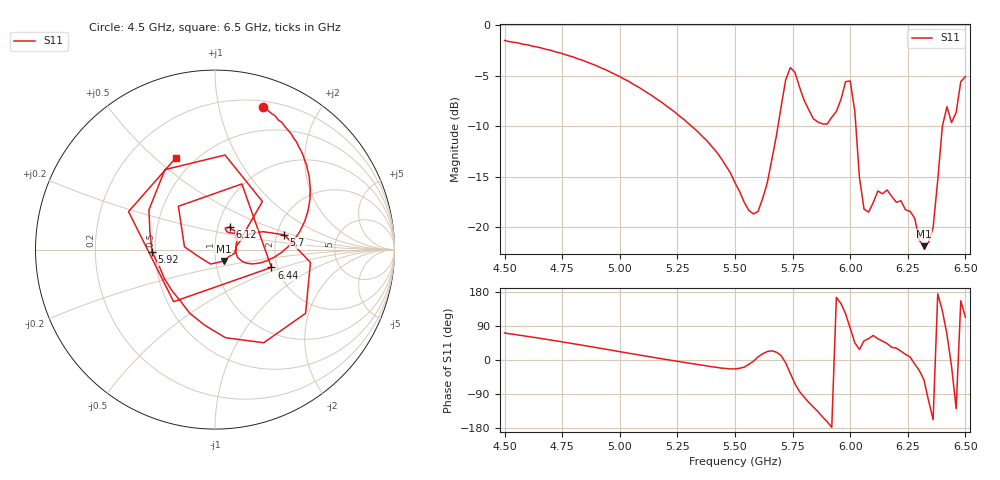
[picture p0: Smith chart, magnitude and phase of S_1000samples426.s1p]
! TOUCHSTONE file generated by CST MICROWAVE STUDIO
! Date and time: Fri Oct 28 03:29:46 2022
! Project name: L.cst
! Parameters = {Di=1.27; Epsilon_r=1.56; InnerDiameter=1.27; Length=2; Lf=10; Lg=60; OuterConductorThickness=0.2921; OuterDiameter=3.6; Wf=3; Wp=41.2; de=1.5; df=6.8; g=0.8; gx=0.683401; gy=2.40649; h=2.34; hf=1.524; px=9.85019; py=14.4254; w=9.7; wx=9.16679; wy=12.0189}
! Header version: 2018
! Port assignment regex: !\s*Touchstone port\s*([0-9]+)\s*=\s*(CST MWS port|CST DS port)\s*([0-9]+|Zmin|Zmax)\s*\(\"(.*)\"\)(\s*mode\s*([0-9]+))?.*
! Touchstone port assignment:
! Touchstone port 1 = CST MWS port 1 ("")
# GHz S DB R 50
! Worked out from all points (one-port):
!   101 points, 4.5 GHz to 6.5 GHz, reference 50 ohm
!   lowest |S11| = -21.9 dB at 6.32 GHz (marker M1), VSWR 1.18, Z = 54.7 - j7.02 ohm
!   |S11| at or under -10 dB: 5.312 GHz to 5.686 GHz (374.5 MHz wide, 6.81 % of centre); 6.025 GHz to 6.4 GHz (375.4 MHz wide, 6.04 % of centre)
!   S11 on the Smith chart (normalised r, x): 4.5 GHz: 0.25, +1.36; 5.7 GHz: 2.20, +0.43; 5.92 GHz: 0.48, -0.02; 6.12 GHz: 1.14, +0.29; 6.44 GHz: 1.86, -0.41; 6.5 GHz: 0.40, +0.59
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4.5  -1.51 71.3
4.76  -2.88 46.7
5  -5.09 21.9
5.26  -9.01 -4.4
5.5  -15.59 -23.5
5.6  -18.43 8.2
5.7  -8.08 12.1
5.72  -5.41 -7.7
5.74  -4.19 -35.1
5.76  -4.65 -62.4
5.82  -8.37 -111.6
5.92  -9.11 -177.6
5.98  -5.58 122.1
6  -5.52 83.9
6.02  -8.49 45.4
6.04  -15.04 27.8
6.06  -18.20 50.5
6.12  -16.40 56.1
6.26  -18.42 8.0
6.32  -21.87 -52.2
6.36  -20.00 -157.5
6.38  -15.35 174.7
6.4  -10.01 130.2
6.42  -8.06 67.7
6.44  -9.64 -17.5
6.46  -8.62 -128.5
6.48  -5.58 156.3
6.5  -5.10 113.0
